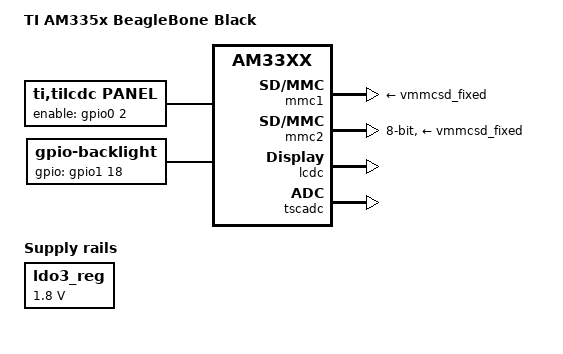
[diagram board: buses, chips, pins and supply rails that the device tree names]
/*
 * Copyright (C) 2015 Jumpnow Technologies, LLC - http://jumpnowtek.com
 *
 * This program is free software; you can redistribute it and/or modify
 * it under the terms of the GNU General Public License version 2 as
 * published by the Free Software Foundation.
 */

/dts-v1/;

#include "am33xx.dtsi"
#include "am335x-bone-common.dtsi"
#include "bbb-i2c1.dtsi"
#include "bbb-i2c2.dtsi"
#include "bbb-uart4.dtsi"

/* The 4dcape DOWN button gpio3[16] conflicts with SPI1.d0
   You can choose either the keypad.dtsi or the spi1-spidev dtsi,
   but not both unless you comment out the 'DOWN' key defs in
   bbb-4dcape70t-keypad.dtsi.
*/
#include "bbb-4dcape70t-keypad.dtsi"

/ {
	model = "TI AM335x BeagleBone Black";
	compatible = "ti,am335x-bone-black", "ti,am33xx";
};

&ldo3_reg {
	regulator-min-microvolt = <1800000>;
	regulator-max-microvolt = <1800000>;
	regulator-always-on;
};

&mmc1 {
	vmmc-supply = <&vmmcsd_fixed>;
};

&mmc2 {
	vmmc-supply = <&vmmcsd_fixed>;
	pinctrl-names = "default";
	pinctrl-0 = <&emmc_pins>;
	bus-width = <8>;
	status = "okay";
};

&am33xx_pinmux {
	lcd_pins: lcd_pins {
		pinctrl-single,pins = <
			0xa0 (PIN_OUTPUT | MUX_MODE0)            /* lcd_data0 */
			0xa4 (PIN_OUTPUT | MUX_MODE0)            /* lcd_data1 */
			0xa8 (PIN_OUTPUT | MUX_MODE0)            /* lcd_data2 */
			0xac (PIN_OUTPUT | MUX_MODE0)            /* lcd_data3 */
			0xb0 (PIN_OUTPUT | MUX_MODE0)            /* lcd_data4 */
			0xb4 (PIN_OUTPUT | MUX_MODE0)            /* lcd_data5 */
			0xb8 (PIN_OUTPUT | MUX_MODE0)            /* lcd_data6 */
			0xbc (PIN_OUTPUT | MUX_MODE0)            /* lcd_data7 */
			0xc0 (PIN_OUTPUT | MUX_MODE0)            /* lcd_data8 */
			0xc4 (PIN_OUTPUT | MUX_MODE0)            /* lcd_data9 */
			0xc8 (PIN_OUTPUT | MUX_MODE0)            /* lcd_data10 */
			0xcc (PIN_OUTPUT | MUX_MODE0)            /* lcd_data11 */
			0xd0 (PIN_OUTPUT | MUX_MODE0)            /* lcd_data12 */
			0xd4 (PIN_OUTPUT | MUX_MODE0)            /* lcd_data13 */
			0xd8 (PIN_OUTPUT | MUX_MODE0)            /* lcd_data14 */
			0xdc (PIN_OUTPUT | MUX_MODE0)            /* lcd_data15 */
			0xe0 (PIN_OUTPUT_PULLDOWN | MUX_MODE0)   /* lcd_vsync */
			0xe4 (PIN_OUTPUT_PULLDOWN | MUX_MODE0)   /* lcd_hsync */
			0xe8 (PIN_OUTPUT_PULLDOWN | MUX_MODE0)   /* lcd_pclk */
			0xec (PIN_OUTPUT_PULLDOWN | MUX_MODE0)   /* lcd_ac_bias_en */
			/* LCD enable */
			0x150 (PIN_OUTPUT_PULLUP | MUX_MODE7)    /* P9.22, gpio0_2 */
		>;
	};

	backlight_pin: backlight_pin {
		pinctrl-single,pins = < 0x48 (PIN_OUTPUT_PULLUP | MUX_MODE7) >; /* P9.14, gpio1[18] */
	};
};

&lcdc {
	status = "okay";
};

/ {
	lcd0: display {
		status = "okay";
		compatible = "ti,tilcdc,panel";
		label = "lcd";
		pinctrl-names = "default";
		pinctrl-0 = <&lcd_pins>;
		enable-gpios = <&gpio0 2 GPIO_ACTIVE_HIGH>;

		panel-info {
			ac-bias           = <255>;
			ac-bias-intrpt    = <0>;
			dma-burst-sz      = <16>;
			bpp               = <16>;
			fdd               = <0x80>;
			sync-edge         = <0>;
			sync-ctrl         = <1>;
			raster-order      = <0>;
			fifo-th           = <0>;
		};

		display-timings {
			native-mode = <&timing0>;
			timing0: 800x480 {
				clock-frequency = <30000000>;
				hactive = <800>;
				vactive = <480>;
				hfront-porch = <40>;
				hback-porch = <40>;
				hsync-len = <48>;
				vback-porch = <30>;
				vfront-porch = <13>;
				vsync-len = <3>;
				hsync-active = <0>;
				vsync-active = <0>;
				de-active = <1>;
				pixelclk-active = <0>;
			};
		};
	};

	backlight {
		status = "okay";
		compatible = "gpio-backlight";
		pinctrl-names = "default";
		pinctrl-0 = <&backlight_pin>;
		gpios = <&gpio1 18 GPIO_ACTIVE_HIGH>; /* P9.14 */
		default-on;
	};
};

&tscadc {
	status = "okay";

	tsc {
		ti,wires = <4>;
		ti,x-plate-resistance = <200>;
		ti,coordinate-readouts = <5>;
		ti,wire-config = <0x00 0x11 0x22 0x33>;
		ti,charge-delay = <0x1000>;
	};

	adc {
		ti,adc-channels = <4 5 6 7>;
	};
};

&rtc {
	system-power-controller;
};
